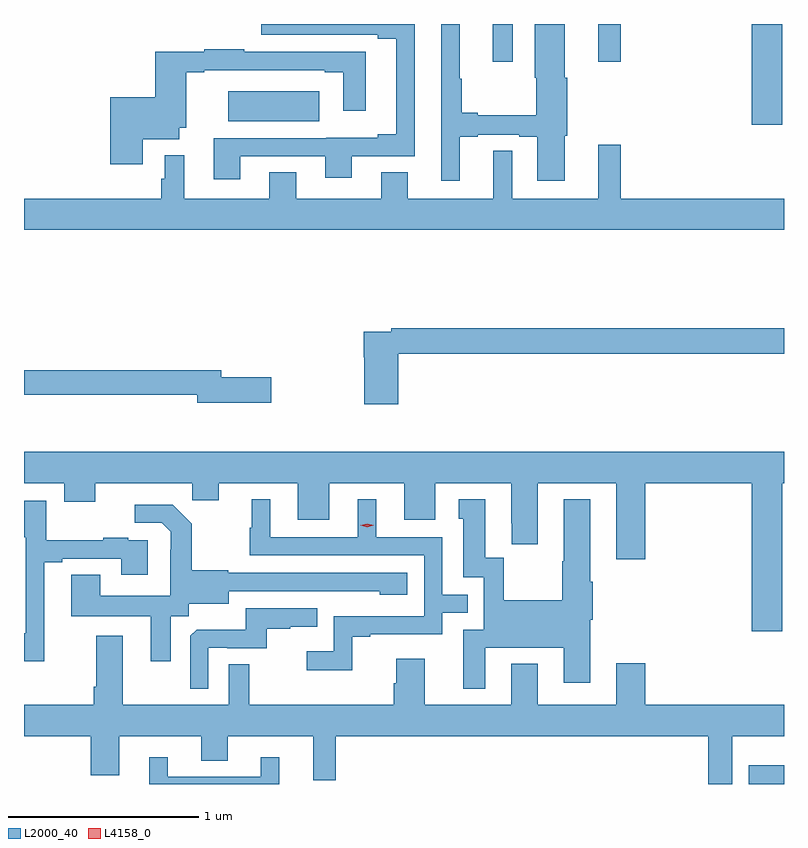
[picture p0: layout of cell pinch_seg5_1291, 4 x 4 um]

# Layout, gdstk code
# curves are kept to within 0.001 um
import gdstk
lib = gdstk.Library(unit=1e-6, precision=1e-09)
def R(c, l, rs):  # rectangles x0, y0, x1, y1
    for r in rs: c.add(gdstk.rectangle(r[:2], r[2:], *l))
def P(c, l, *ps):  # polygons
    for p in ps: c.add(gdstk.Polygon(p, *l))
L2000_40 = (2000, 40)
L4158_0 = (4158, 0)

pinch_seg5_1291 = lib.new_cell('pinch_seg5_1291')
R(pinch_seg5_1291, L2000_40, [(533.882,845.852,534.067,845.95), (533.897,849.321,534.057,849.852), (531.141,849.341,531.622,849.499), (532.535,849.654,532.639,849.852), (533.09,849.654,533.207,849.852)])
P(pinch_seg5_1291, L2000_40, [(531.205,849.156),(531.653,849.156),(531.653,849.044),(531.793,849.044),(531.793,849.156),(532.123,849.156),(532.123,849.852),(531.315,849.852),(531.315,849.795),(531.929,849.795),(531.929,849.775),(532.025,849.775),(532.025,849.272),(531.929,849.272),(531.929,849.253),(531.657,849.253),(531.657,849.252),(531.065,849.252),(531.065,849.036),(531.205,849.036)],
  [(532.361,849.258),(532.456,849.258),(532.456,849.27),(532.673,849.27),(532.673,849.258),(532.769,849.258),(532.769,849.027),(532.912,849.027),(532.912,849.263),(532.925,849.263),(532.925,849.57),(532.912,849.57),(532.912,849.852),(532.754,849.852),(532.754,849.57),(532.762,849.57),(532.762,849.371),(532.456,849.371),(532.456,849.386),(532.372,849.386),(532.372,849.563),(532.36,849.563),(532.36,849.852),(532.262,849.852),(532.262,849.027),(532.361,849.027)],
  [(530.692,849.245),(530.884,849.245),(530.884,849.305),(530.92,849.305),(530.92,849.597),(531.016,849.597),(531.016,849.609),(531.65,849.609),(531.65,849.597),(531.746,849.597),(531.746,849.396),(531.865,849.396),(531.865,849.705),(531.227,849.705),(531.227,849.718),(531.016,849.718),(531.016,849.706),(530.759,849.706),(530.759,849.466),(530.522,849.466),(530.522,849.114),(530.692,849.114)],
  [(534.067,848.932),(533.207,848.932),(533.207,849.217),(533.09,849.217),(533.09,848.932),(532.636,848.932),(532.636,849.184),(532.538,849.184),(532.538,848.932),(532.087,848.932),(532.087,849.071),(531.947,849.071),(531.947,848.932),(531.499,848.932),(531.499,849.071),(531.359,849.071),(531.359,848.932),(530.911,848.932),(530.911,849.16),(530.807,849.16),(530.807,849.038),(530.79,849.038),(530.79,848.932),(530.067,848.932),(530.067,848.768),(534.067,848.768)],
  [(532.037,848.116),(534.067,848.116),(534.067,848.252),(532,848.252),(532,848.232),(531.854,848.232),(531.854,848.099),(531.859,848.099),(531.859,847.851),(532.037,847.851)],
  [(531.367,847.994),(531.106,847.994),(531.106,848.03),(530.067,848.03),(530.067,847.902),(530.978,847.902),(530.978,847.859),(531.367,847.859)],
  [(534.057,847.436),(534.067,847.436),(534.067,847.6),(530.067,847.6),(530.067,847.436),(530.279,847.436),(530.279,847.337),(530.443,847.337),(530.443,847.436),(530.953,847.436),(530.953,847.346),(531.091,847.346),(531.091,847.436),(531.509,847.436),(531.509,847.242),(531.673,847.242),(531.673,847.436),(532.067,847.436),(532.067,847.242),(532.231,847.242),(532.231,847.436),(532.631,847.436),(532.631,847.225),(532.634,847.225),(532.634,847.113),(532.771,847.113),(532.771,847.436),(533.183,847.436),(533.183,847.035),(533.336,847.035),(533.336,847.436),(533.897,847.436),(533.897,846.657),(534.057,846.657)],
  [(531.795,846.627),(531.889,846.627),(531.889,846.639),(532.269,846.639),(532.269,846.753),(532.403,846.753),(532.403,846.849),(532.269,846.849),(532.269,847.152),(531.922,847.152),(531.922,847.351),(531.824,847.351),(531.824,847.152),(531.364,847.152),(531.364,847.351),(531.266,847.351),(531.266,847.2),(531.255,847.2),(531.255,847.056),(532.173,847.056),(532.173,846.735),(531.696,846.735),(531.696,846.55),(531.555,846.55),(531.555,846.452),(531.795,846.452)],
  [(532.495,846.569),(532.907,846.569),(532.907,846.384),(533.047,846.384),(533.047,846.716),(533.06,846.716),(533.06,846.916),(533.047,846.916),(533.047,847.351),(532.907,847.351),(532.907,847.025),(532.9,847.025),(532.9,846.82),(532.593,846.82),(532.593,847.043),(532.495,847.043),(532.495,847.351),(532.355,847.351),(532.355,847.248),(532.379,847.248),(532.379,846.939),(532.488,846.939),(532.488,846.663),(532.379,846.663),(532.379,846.354),(532.495,846.354)],
  [(530.173,847.02),(530.269,847.02),(530.269,847.038),(530.579,847.038),(530.579,846.954),(530.719,846.954),(530.719,847.134),(530.615,847.134),(530.615,847.147),(530.483,847.147),(530.483,847.136),(530.185,847.136),(530.185,847.344),(530.067,847.344),(530.067,847.151),(530.076,847.151),(530.076,846.646),(530.067,846.646),(530.067,846.498),(530.173,846.498)],
  [(530.839,846.736),(530.934,846.736),(530.934,846.8),(531.145,846.8),(531.145,846.867),(531.939,846.866),(531.939,846.848),(532.084,846.848),(532.084,846.963),(531.141,846.963),(531.141,846.976),(530.949,846.976),(530.949,847.221),(530.849,847.321),(530.649,847.321),(530.649,847.227),(530.793,847.227),(530.84,847.18),(530.84,847.085),(530.838,847.085),(530.838,846.844),(530.467,846.844),(530.467,846.953),(530.315,846.953),(530.315,846.734),(530.735,846.734),(530.735,846.498),(530.839,846.498)],
  [(531.036,846.57),(531.136,846.57),(531.136,846.567),(531.344,846.567),(531.344,846.669),(531.467,846.669),(531.467,846.68),(531.611,846.68),(531.611,846.777),(531.234,846.777),(531.234,846.665),(530.975,846.665),(530.943,846.633),(530.943,846.353),(531.036,846.353)],
  [(530.067,846.104),(530.417,846.104),(530.417,845.898),(530.569,845.898),(530.569,846.104),(530.999,846.104),(530.999,845.974),(531.139,845.974),(531.139,846.104),(531.59,846.104),(531.59,845.871),(531.707,845.871),(531.707,846.104),(533.669,846.104),(533.669,845.852),(533.794,845.852),(533.794,846.104),(534.067,846.104),(534.067,846.268),(533.336,846.268),(533.336,846.487),(533.183,846.487),(533.183,846.268),(532.771,846.268),(532.771,846.484),(532.631,846.484),(532.631,846.268),(532.177,846.268),(532.177,846.511),(532.025,846.511),(532.025,846.381),(532.013,846.381),(532.013,846.268),(531.253,846.268),(531.253,846.482),(531.144,846.482),(531.144,846.268),(530.587,846.268),(530.587,846.631),(530.447,846.631),(530.447,846.364),(530.435,846.364),(530.435,846.268),(530.067,846.268)],
  [(531.411,845.992),(531.314,845.992),(531.314,845.889),(530.824,845.889),(530.824,845.992),(530.726,845.992),(530.726,845.852),(531.411,845.852)])
P(pinch_seg5_1291, L4158_0, [(531.873,847.203),(531.837,847.213),(531.837,847.213),(531.837,847.213),(531.873,847.223),(531.908,847.213),(531.909,847.213),(531.908,847.213)])

lib.write_gds('pinch_seg5_1291.gds')
